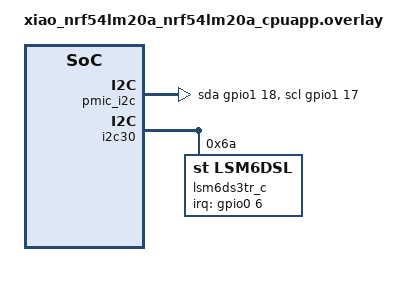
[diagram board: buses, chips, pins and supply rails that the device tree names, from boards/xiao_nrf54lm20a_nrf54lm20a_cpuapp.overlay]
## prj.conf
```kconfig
# Reproduction stricte de l'exemple officiel Seeed (imu_click),
# wiki.seeedstudio.com/xiao_nrf54lm20a_with_onboard/ -- config copiee
# verbatim depuis la page (2026-08-27), avec LOG/console actives pour
# la verification fonctionnelle initiale (a desactiver avant mesure
# PPK2 -- voir la regle absolue CONFIG_SERIAL du projet).

CONFIG_GPIO=y
CONFIG_I2C=y
CONFIG_MFD=y
CONFIG_REGULATOR=y
CONFIG_SENSOR=y
CONFIG_LSM6DSL=y
CONFIG_MAIN_STACK_SIZE=4096
CONFIG_SYSTEM_WORKQUEUE_STACK_SIZE=2048

# Test #20 -- petit levier, sans effet mesurable seul (voir
# Test-Seeed-imu_click-Optimisations.md) mais conserve. Fausse piste
# ecartee (2026-08-27) : retire temporairement pour diagnostiquer une
# apparente absence de sortie serie au boot du test #21 -- sans effet,
# la vraie cause etait le Debug Interface Mode (boucle de redemarrage
# trop rapide pour le mode de log differe), pas PM_DEVICE_RUNTIME.
CONFIG_PM_DEVICE=y
CONFIG_PM_DEVICE_RUNTIME=y

# Test #21 (2026-08-27) -- vrai System OFF : plus besoin du thread de
# declenchement du driver LSM6DSL (CONFIG_LSM6DSL_TRIGGER_GLOBAL_THREAD
# retire, TRIGGER_NONE par defaut) -- l'armement du reveil GPIO se fait
# nous-memes directement sur la broche INT1 (voir main.c), et le SoC
# redemarre entierement au reveil : plus besoin que le driver gere sa
# propre interruption en continu.
CONFIG_POWEROFF=y
CONFIG_HWINFO=y

# Verification fonctionnelle OK (2026-08-27, mode log immediat) :
# enable_imu_power ret=0, device_init ret=0, "IMU device ready", "Tap
# detection configured on IMU hardware", "Entering System OFF". Boucle
# de redemarrage observee ensuite = Debug Interface Mode (USB-C encore
# branche), pas un bug -- necessite une vraie coupure d'alimentation
# avant mesure. Console desactivee en dur pour la mesure PPK2 propre.
CONFIG_SERIAL=n
CONFIG_CONSOLE=n
CONFIG_UART_CONSOLE=n
CONFIG_PRINTK=n
CONFIG_LOG=n
CONFIG_BOOT_BANNER=n
CONFIG_NCS_BOOT_BANNER=n
```

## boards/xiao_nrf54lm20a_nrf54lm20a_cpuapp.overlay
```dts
/* Reproduction stricte de l'exemple officiel Seeed (imu_click),
 * wiki.seeedstudio.com/xiao_nrf54lm20a_with_onboard/ -- overlay copie
 * verbatim depuis la page (2026-08-27). */

&pmic_i2c {
	sda-gpios = <&gpio1 18 GPIO_ACTIVE_HIGH>;
	scl-gpios = <&gpio1 17 GPIO_ACTIVE_HIGH>;
	status = "okay";
};

&pmic {
	regulators {
		imu_vdd: LDO1 {
			regulator-min-microvolt = <3300000>;
			regulator-max-microvolt = <3300000>;
			regulator-boot-on;
		};
	};
};

&i2c30 {
	lsm6ds3tr_c: lsm6ds3tr-c@6a {
		compatible = "st,lsm6dsl";
		reg = <0x6a>;
		irq-gpios = <&gpio0 6 GPIO_ACTIVE_HIGH>;
		status = "okay";
		zephyr,deferred-init;
	};
};

/* Meme bug de build deja rencontre dans xiao_door_sensor
 * (nrf_usbhs_wrapper.c), necessaire pour compiler -- absent du
 * fragment publie par Seeed mais requis sur cette carte/toolchain. */
&usbhs {
	status = "disabled";
};

&usbhs_wrapper {
	status = "disabled";
};
```

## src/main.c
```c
#include <errno.h>
#include <inttypes.h>
#include <stdio.h>
#include <zephyr/kernel.h>
#include <zephyr/device.h>
#include <zephyr/drivers/gpio.h>
#include <zephyr/drivers/hwinfo.h>
#include <zephyr/drivers/sensor.h>
#include <zephyr/drivers/i2c.h>
#include <zephyr/drivers/regulator.h>
#include <zephyr/logging/log.h>
#include <zephyr/sys/poweroff.h>

LOG_MODULE_REGISTER(imu_wakeup, LOG_LEVEL_INF);

#define IMU_NODE DT_ALIAS(imu0)
#define IMU_ADDR DT_REG_ADDR(IMU_NODE)

/* LSM6DS3TR-C register definitions for tap detection */
#define LSM6DSL_REG_INT1_CTRL 0x0D
#define LSM6DSL_REG_TAP_SRC 0x1C
#define LSM6DSL_REG_TAP_CFG 0x58
#define LSM6DSL_REG_TAP_THS_6D 0x59
#define LSM6DSL_REG_INT_DUR2 0x5A
#define LSM6DSL_REG_WAKE_UP_THS 0x5B
#define LSM6DSL_REG_MD1_CFG 0x5E

#define TAP_CFG_INTERRUPTS_ENABLE BIT(7)
#define TAP_CFG_X_EN BIT(3)
#define TAP_CFG_Y_EN BIT(2)
#define TAP_CFG_Z_EN BIT(1)
#define TAP_CFG_LIR BIT(0)

#define MD1_CFG_INT1_SINGLE_TAP BIT(6)
#define MD1_CFG_INT1_DOUBLE_TAP BIT(3)

#define WAKE_UP_THS_SINGLE_DOUBLE_TAP BIT(7)

#define TAP_SRC_TAP_IA BIT(6)
#define TAP_SRC_SINGLE_TAP BIT(5)
#define TAP_SRC_DOUBLE_TAP BIT(4)

enum posture_state
{
	POSTURE_UNKNOWN,
	POSTURE_FACE_UP,
	POSTURE_FACE_DOWN,
	POSTURE_LEFT_TILT,
	POSTURE_RIGHT_TILT,
	POSTURE_UPRIGHT,
	POSTURE_INVERTED,
};

/* Test #21 (2026-08-27) -- vrai System OFF (sys_poweroff()) au lieu de
 * la boucle infinie k_sem_take(K_FOREVER) de l'exemple original.
 * Reveil arme directement sur la broche INT1 de l'IMU (meme propriete
 * devicetree irq-gpios que le driver LSM6DSL utilise en interne),
 * meme mecanisme que l'exemple officiel Zephyr
 * samples/boards/nordic/system_off (gpio_pin_interrupt_configure_dt
 * + GPIO_INT_LEVEL_ACTIVE avant sys_poweroff()). Le SoC redemarre
 * entierement au reveil (pas de retour dans la boucle C) -- reset_cause
 * indique RESET_LOW_POWER_WAKE. */
static const struct gpio_dt_spec imu_int1 = GPIO_DT_SPEC_GET(IMU_NODE, irq_gpios);

/*
 * nRF54LM20A needs power_en (fixed regulator on gpio1.12) and imu_vdd
 * (PMIC NPM1300 LDO1) enabled before the IMU can be accessed.
 */
#if defined(DT_N_NODELABEL_power_en)
static const struct device *const power_en_dev =
	DEVICE_DT_GET(DT_NODELABEL(power_en));
#endif

#if defined(DT_N_NODELABEL_imu_vdd)
static const struct device *const imu_vdd_dev =
	DEVICE_DT_GET(DT_NODELABEL(imu_vdd));
#endif

static int enable_imu_power(void)
{
#if defined(DT_N_NODELABEL_power_en) || defined(DT_N_NODELABEL_imu_vdd)
	int ret;
#endif

#if defined(DT_N_NODELABEL_power_en)
	if (!device_is_ready(power_en_dev))
	{
		LOG_ERR("power_en regulator is not ready");
		return -ENODEV;
	}
	ret = regulator_enable(power_en_dev);
	if (ret < 0 && ret != -EALREADY)
	{
		LOG_ERR("Failed to enable power_en: %d", ret);
		return ret;
	}
#endif

#if defined(DT_N_NODELABEL_imu_vdd)
	if (!device_is_ready(imu_vdd_dev))
	{
		LOG_ERR("imu_vdd regulator is not ready");
		return -ENODEV;
	}
	ret = regulator_enable(imu_vdd_dev);
	if (ret < 0 && ret != -EALREADY)
	{
		LOG_ERR("Failed to enable imu_vdd: %d", ret);
		return ret;
	}
#endif

#if defined(DT_N_NODELABEL_power_en) || defined(DT_N_NODELABEL_imu_vdd)
	/* Wait for power rail to stabilize */
	k_sleep(K_MSEC(20));
#endif

	return 0;
}

static inline float out_ev(struct sensor_value *val)
{
	return (val->val1 + (float)val->val2 / 1000000);
}

static enum posture_state determine_posture(float ax, float ay, float az)
{
	const float threshold = 6.87f;

	if (az > threshold)
	{
		return POSTURE_FACE_UP;
	}
	if (az < -threshold)
	{
		return POSTURE_FACE_DOWN;
	}
	if (ax > threshold)
	{
		return POSTURE_RIGHT_TILT;
	}
	if (ax < -threshold)
	{
		return POSTURE_LEFT_TILT;
	}
	if (ay > threshold)
	{
		return POSTURE_UPRIGHT;
	}
	if (ay < -threshold)
	{
		return POSTURE_INVERTED;
	}
	return POSTURE_UNKNOWN;
}

static const char *posture_to_str(enum posture_state posture)
{
	switch (posture)
	{
	case POSTURE_FACE_UP:
		return "Face up";
	case POSTURE_FACE_DOWN:
		return "Face down";
	case POSTURE_LEFT_TILT:
		return "Left tilt";
	case POSTURE_RIGHT_TILT:
		return "Right tilt";
	case POSTURE_UPRIGHT:
		return "Upright";
	case POSTURE_INVERTED:
		return "Inverted";
	default:
		return "Unknown";
	}
}

static enum posture_state read_posture(const struct device *dev)
{
	struct sensor_value x, y, z;

	sensor_sample_fetch_chan(dev, SENSOR_CHAN_ACCEL_XYZ);
	sensor_channel_get(dev, SENSOR_CHAN_ACCEL_X, &x);
	sensor_channel_get(dev, SENSOR_CHAN_ACCEL_Y, &y);
	sensor_channel_get(dev, SENSOR_CHAN_ACCEL_Z, &z);

	return determine_posture(out_ev(&x), out_ev(&y), out_ev(&z));
}

static int imu_reg_write(const struct device *i2c, uint8_t reg, uint8_t val)
{
	return i2c_reg_write_byte(i2c, IMU_ADDR, reg, val);
}

static int imu_reg_read(const struct device *i2c, uint8_t reg, uint8_t *val)
{
	return i2c_reg_read_byte(i2c, IMU_ADDR, reg, val);
}

static int configure_tap_detection(const struct device *i2c,
								   const struct device *imu_dev)
{
	int ret;
	struct sensor_value odr_attr;

	/* Set accelerometer ODR to 104 Hz for reliable tap detection */
	odr_attr.val1 = 104;
	odr_attr.val2 = 0;
	ret = sensor_attr_set(imu_dev, SENSOR_CHAN_ACCEL_XYZ,
						  SENSOR_ATTR_SAMPLING_FREQUENCY, &odr_attr);
	if (ret != 0)
	{
		LOG_ERR("Failed to set accel ODR: %d", ret);
		return ret;
	}

	/*
	 * TAP_CFG: enable interrupts, X/Y/Z tap, latched interrupt mode.
	 * Latched mode keeps INT1 asserted until TAP_SRC is read.
	 */
	ret = imu_reg_write(i2c, LSM6DSL_REG_TAP_CFG,
						TAP_CFG_INTERRUPTS_ENABLE |
							TAP_CFG_X_EN |
							TAP_CFG_Y_EN |
							TAP_CFG_Z_EN |
							TAP_CFG_LIR);
	if (ret != 0)
	{
		return ret;
	}

	/* TAP_THS_6D: tap threshold = 0x0C (~750 mg at 2g full scale) */
	ret = imu_reg_write(i2c, LSM6DSL_REG_TAP_THS_6D, 0x0C);
	if (ret != 0)
	{
		return ret;
	}

	/*
	 * INT_DUR2: DUR=4, QUIET=2, SHOCK=1
	 * SHOCK: max shock time for tap detection
	 * QUIET: min quiet time after shock before another tap
	 * DUR: max duration of tap event
	 */
	ret = imu_reg_write(i2c, LSM6DSL_REG_INT_DUR2,
						(4 << 4) | (2 << 2) | (1 << 0));
	if (ret != 0)
	{
		return ret;
	}

	/* WAKE_UP_THS: enable both single and double tap detection */
	ret = imu_reg_write(i2c, LSM6DSL_REG_WAKE_UP_THS,
						WAKE_UP_THS_SINGLE_DOUBLE_TAP);
	if (ret != 0)
	{
		return ret;
	}

	/*
	 * Clear INT1_CTRL data-ready bits so INT1 only fires for tap events.
	 * The Zephyr driver sets DRDY_XL | DRDY_G during init; we override
	 * this to prevent periodic wakeups and achieve ultra low power.
	 */
	ret = imu_reg_write(i2c, LSM6DSL_REG_INT1_CTRL, 0x00);
	if (ret != 0)
	{
		return ret;
	}

	/* MD1_CFG: route single tap and double tap to INT1 pin */
	ret = imu_reg_write(i2c, LSM6DSL_REG_MD1_CFG,
						MD1_CFG_INT1_SINGLE_TAP |
							MD1_CFG_INT1_DOUBLE_TAP);
	if (ret != 0)
	{
		return ret;
	}

	LOG_INF("Tap detection configured on IMU hardware");
	return 0;
}

int main(void)
{
	const struct device *const imu_dev = DEVICE_DT_GET(IMU_NODE);
	const struct device *const i2c_dev = DEVICE_DT_GET(DT_BUS(IMU_NODE));
	uint32_t reset_cause = 0U;
	int ret;

	LOG_INF("Low Power IMU Wakeup System (System OFF)");
	LOG_INF("=========================================");

	hwinfo_get_reset_cause(&reset_cause);
	if (reset_cause & RESET_LOW_POWER_WAKE) {
		LOG_INF("Wakeup from System OFF by GPIO (tap).");
	} else if (reset_cause & RESET_DEBUG) {
		LOG_INF("Reset by debugger.");
	} else {
		LOG_INF("Cold boot / power-on, reset_cause=0x%08" PRIX32, reset_cause);
	}

	/*
	 * On nRF54LM20A, enable power_en + imu_vdd before accessing IMU.
	 * The IMU has zephyr,deferred-init; must init manually.
	 */
	ret = enable_imu_power();
	if (ret < 0)
	{
		LOG_ERR("Failed to enable IMU power: %d", ret);
		return 1;
	}

	if (!device_is_ready(imu_dev))
	{
		ret = device_init(imu_dev);
		if (ret < 0 && ret != -EALREADY)
		{
			LOG_ERR("Failed to initialize %s: %d", imu_dev->name, ret);
			return 1;
		}
	}

	if (!device_is_ready(imu_dev))
	{
		LOG_ERR("%s: device not ready", imu_dev->name);
		return 1;
	}
	LOG_INF("IMU device ready");

	if (!device_is_ready(i2c_dev))
	{
		LOG_ERR("I2C device not ready");
		return 1;
	}

	/* Si ce reveil vient d'un tap reel, lire TAP_SRC (efface le
	 * verrou LIR) et la posture avant de reconfigurer/rearmer. */
	if (reset_cause & RESET_LOW_POWER_WAKE)
	{
		uint8_t tap_src = 0;

		ret = imu_reg_read(i2c_dev, LSM6DSL_REG_TAP_SRC, &tap_src);
		if (ret == 0)
		{
			if (tap_src & TAP_SRC_SINGLE_TAP)
			{
				LOG_INF("Tap event: Single tap");
			}
			else if (tap_src & TAP_SRC_DOUBLE_TAP)
			{
				LOG_INF("Tap event: Double tap");
			}
			else
			{
				LOG_INF("Tap event: Unknown (TAP_SRC=0x%02x)", tap_src);
			}

			enum posture_state posture = read_posture(imu_dev);
			LOG_INF("Posture: %s", posture_to_str(posture));
		}
		else
		{
			LOG_ERR("Failed to read TAP_SRC: %d", ret);
		}
	}

	/* Configure hardware tap detection on the IMU -- sequence Seeed
	 * inchangee, voir configure_tap_detection(). */
	ret = configure_tap_detection(i2c_dev, imu_dev);
	if (ret != 0)
	{
		LOG_ERR("Failed to configure tap detection: %d", ret);
		return 1;
	}

	/* Armer INT1 comme source de reveil System OFF (meme mecanisme que
	 * samples/boards/nordic/system_off : niveau actif, pas front). */
	ret = gpio_pin_configure_dt(&imu_int1, GPIO_INPUT);
	if (ret < 0)
	{
		LOG_ERR("Could not configure IMU INT1 GPIO (%d)", ret);
		return 1;
	}
	ret = gpio_pin_interrupt_configure_dt(&imu_int1, GPIO_INT_LEVEL_ACTIVE);
	if (ret < 0)
	{
		LOG_ERR("Could not configure IMU INT1 wake interrupt (%d)", ret);
		return 1;
	}

	LOG_INF("Entering System OFF; tap the board to wake.");

	hwinfo_clear_reset_cause();
	sys_poweroff();

	return 0;
}
```
